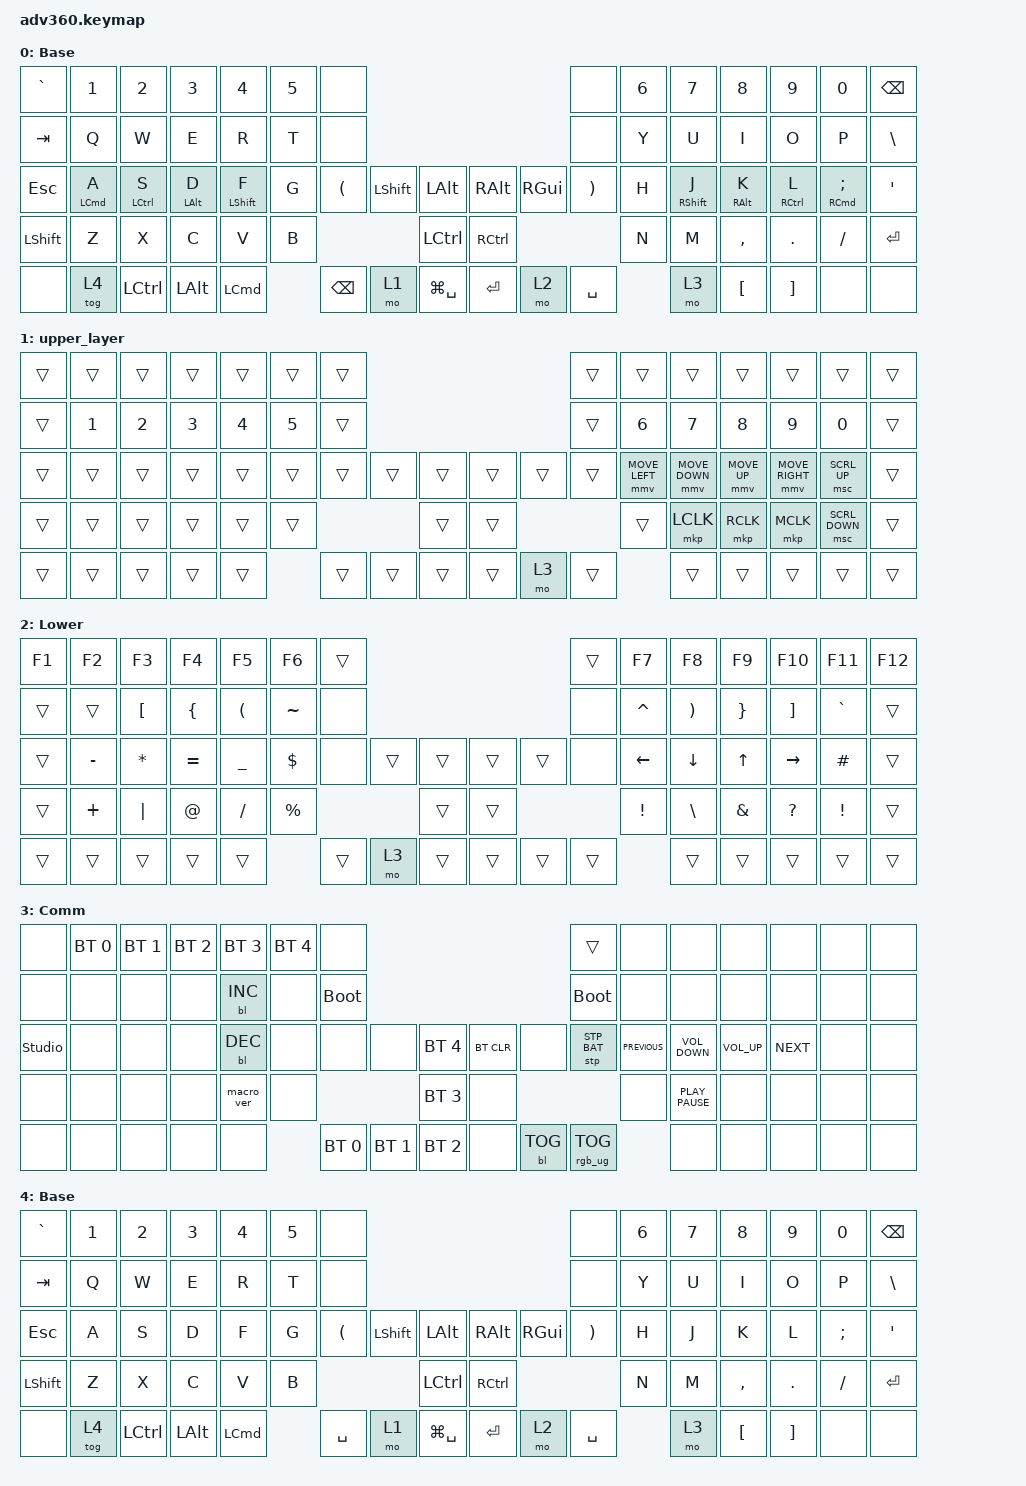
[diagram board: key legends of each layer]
#include <dt-bindings/zmk/stp.h>
#include <behaviors.dtsi>
#include <dt-bindings/zmk/backlight.h>
#include <dt-bindings/zmk/bt.h>
#include <dt-bindings/zmk/keys.h>
#include <dt-bindings/zmk/pointing.h>
#include <dt-bindings/zmk/rgb.h>

&mmv {
    acceleration-exponent = <1>;
    time-to-max-speed-ms = <300>;
    delay-ms = <0>;
};

&msc {
    acceleration-exponent = <0>;
    time-to-max-speed-ms = <300>;
    delay-ms = <0>;
};

/ {
    behaviors {
        #include "macros.dtsi"
      #include "version.dtsi"

        hm: homerow_mods {
            compatible = "zmk,behavior-hold-tap";
            label = "HOMEROW_MODS";
            #binding-cells = <2>;
            tapping-term-ms = <200>;
            quick_tap_ms = <175>;
            flavor = "tap-preferred";
            bindings = <&kp>, <&kp>;
        };

        rpi: require_prior_idle {
            compatible = "zmk,behavior-hold-tap";
            #binding-cells = <2>;
            flavor = "tap-preferred";
            tapping-term-ms = <200>;
            quick-tap-ms = <200>;
            require-prior-idle-ms = <200>;
            bindings = <&kp>, <&kp>;
        };
    };

    keymap {
        compatible = "zmk,keymap";

        default_layer {
            display-name = "Base";
            bindings = <
&kp GRAVE  &kp N1               &kp N2               &kp N3           &kp N4             &kp N5  &none                                                                    &none                  &kp N6  &kp N7              &kp N8            &kp N9                &kp N0                   &kp BACKSPACE
&kp TAB    &kp Q                &kp W                &kp E            &kp R              &kp T   &none                                                                    &none                  &kp Y   &kp U               &kp I             &kp O                 &kp P                    &kp BSLH
&kp ESC    &rpi LEFT_COMMAND A  &rpi LEFT_CONTROL S  &rpi LEFT_ALT D  &rpi LEFT_SHIFT F  &kp G   &kp LEFT_PARENTHESIS  &kp LSHFT  &kp LALT           &kp RALT   &kp RGUI  &kp RIGHT_PARENTHESIS  &kp H   &rpi RIGHT_SHIFT J  &rpi RIGHT_ALT K  &rpi RIGHT_CONTROL L  &rpi RIGHT_COMMAND SEMI  &kp SQT
&kp LSHFT  &kp Z                &kp X                &kp C            &kp V              &kp B                                    &kp LCTRL          &kp RCTRL                                   &kp N   &kp M               &kp COMMA         &kp DOT               &kp FSLH                 &kp ENTER
&none      &tog 4               &kp LEFT_CONTROL     &kp LEFT_ALT     &kp LEFT_COMMAND           &kp BSPC              &mo 1      &kp LG(SPACE)      &kp RET    &mo 2     &kp SPACE                      &mo 3               &kp LBKT          &kp RBKT              &none                    &none
            >;
        };

        upper_layer {
            bindings = <
&trans  &trans  &trans  &trans  &trans  &trans  &trans                                      &trans  &trans          &trans          &trans        &trans           &trans          &trans
&trans  &kp N1  &kp N2  &kp N3  &kp N4  &kp N5  &trans                                      &trans  &kp N6          &kp N7          &kp N8        &kp N9           &kp N0          &trans
&trans  &trans  &trans  &trans  &trans  &trans  &trans  &trans  &trans      &trans  &trans  &trans  &mmv MOVE_LEFT  &mmv MOVE_DOWN  &mmv MOVE_UP  &mmv MOVE_RIGHT  &msc SCRL_UP    &trans
&trans  &trans  &trans  &trans  &trans  &trans                  &trans      &trans                  &trans          &mkp LCLK       &mkp RCLK     &mkp MCLK        &msc SCRL_DOWN  &trans
&trans  &trans  &trans  &trans  &trans          &trans  &trans  &trans      &trans  &mo 3   &trans                  &trans          &trans        &trans           &trans          &trans
            >;
        };

        lower_layer {
            display-name = "Lower";
            bindings = <
&kp F1  &kp F2     &kp F3            &kp F4          &kp F5                &kp F6       &trans                                      &trans  &kp F7           &kp F8                 &kp F9           &kp F10            &kp F11    &kp F12
&trans  &trans     &kp LEFT_BRACKET  &kp LEFT_BRACE  &kp LEFT_PARENTHESIS  &kp TILDE    &none                                       &none   &kp CARET        &kp RIGHT_PARENTHESIS  &kp RIGHT_BRACE  &kp RIGHT_BRACKET  &kp GRAVE  &trans
&trans  &kp MINUS  &kp STAR          &kp EQUAL       &kp UNDER             &kp DOLLAR   &none   &trans  &trans      &trans  &trans  &none   &kp LEFT         &kp DOWN               &kp UP_ARROW     &kp RIGHT          &kp POUND  &trans
&trans  &kp PLUS   &kp PIPE          &kp AT          &kp SLASH             &kp PERCENT                  &trans      &trans                  &kp EXCLAMATION  &kp BACKSLASH          &kp AMPERSAND    &kp QUESTION       &kp EXCL   &trans
&trans  &trans     &trans            &trans          &trans                             &trans  &mo 3   &trans      &trans  &trans  &trans                   &trans                 &trans           &trans             &trans     &trans
            >;
        };

        command_layer {
            display-name = "Comm";
            bindings = <
&none           &bt BT_SEL 0  &bt BT_SEL 1  &bt BT_SEL 2  &bt BT_SEL 3  &bt BT_SEL 4  &none                                                                 &trans           &none           &none              &none            &none       &none  &none
&none           &none         &none         &none         &bl BL_INC    &none         &bootloader                                                           &bootloader      &none           &none              &none            &none       &none  &none
&studio_unlock  &none         &none         &none         &bl BL_DEC    &none         &none         &none         &bt BT_SEL 4      &bt BT_CLR  &none       &stp STP_BAT     &kp C_PREVIOUS  &kp C_VOLUME_DOWN  &kp C_VOLUME_UP  &kp C_NEXT  &none  &none
&none           &none         &none         &none         &macro_ver    &none                                     &bt BT_SEL 3      &none                                    &none           &kp K_PLAY_PAUSE   &none            &none       &none  &none
&none           &none         &none         &none         &none                       &bt BT_SEL 0  &bt BT_SEL 1  &bt BT_SEL 2      &none       &bl BL_TOG  &rgb_ug RGB_TOG                  &none              &none            &none       &none  &none
            >;
        };

        no_homerow_mods {
            display-name = "Base";
            bindings = <
&kp GRAVE  &kp N1  &kp N2            &kp N3        &kp N4            &kp N5  &none                                                                    &none                  &kp N6  &kp N7  &kp N8     &kp N9    &kp N0    &kp BACKSPACE
&kp TAB    &kp Q   &kp W             &kp E         &kp R             &kp T   &none                                                                    &none                  &kp Y   &kp U   &kp I      &kp O     &kp P     &kp BSLH
&kp ESC    &kp A   &kp S             &kp D         &kp F             &kp G   &kp LEFT_PARENTHESIS  &kp LSHFT  &kp LALT           &kp RALT   &kp RGUI  &kp RIGHT_PARENTHESIS  &kp H   &kp J   &kp K      &kp L     &kp SEMI  &kp SQT
&kp LSHFT  &kp Z   &kp X             &kp C         &kp V             &kp B                                    &kp LCTRL          &kp RCTRL                                   &kp N   &kp M   &kp COMMA  &kp DOT   &kp FSLH  &kp ENTER
&none      &tog 4  &kp LEFT_CONTROL  &kp LEFT_ALT  &kp LEFT_COMMAND          &kp SPACE             &mo 1      &kp LG(SPACE)      &kp RET    &mo 2     &kp SPACE                      &mo 3   &kp LBKT   &kp RBKT  &none     &none
            >;
        };
    };
};
